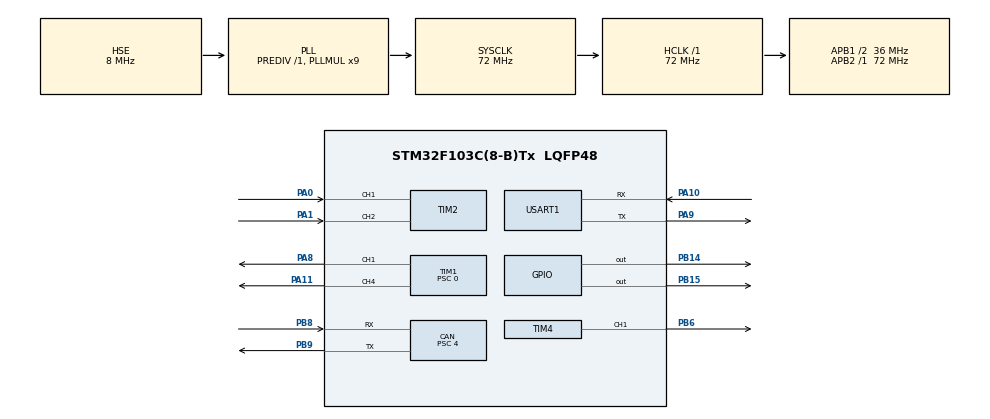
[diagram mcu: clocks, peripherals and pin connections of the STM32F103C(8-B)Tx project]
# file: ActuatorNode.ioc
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CAN.BS1=CAN_BS1_13TQ
CAN.BS2=CAN_BS2_4TQ
CAN.CalculateBaudRate=500000
CAN.CalculateTimeBit=2000
CAN.CalculateTimeQuantum=111.11111111111111
CAN.Prescaler=4
Mcu.Family=STM32F1
Mcu.Name=STM32F103C(8-B)Tx
Mcu.Package=LQFP48
NVIC.PriorityGroup=NVIC_PRIORITYGROUP_4
NVIC.TIM2_IRQn=true\:0\:0\:false\:false\:true\:true\:true\:true
NVIC.TIM3_IRQn=true\:0\:0\:false\:false\:true\:true\:true\:true
NVIC.USB_LP_CAN1_RX0_IRQn=true\:0\:0\:false\:false\:true\:true\:true\:true
PA0-WKUP.Signal=S_TIM2_CH1_ETR
PA1.Signal=S_TIM2_CH2
PA10.Mode=Asynchronous
PA10.Signal=USART1_RX
PA11.Signal=S_TIM1_CH4
PA13.Mode=Serial_Wire
PA13.Signal=SYS_JTMS-SWDIO
PA14.Mode=Serial_Wire
PA14.Signal=SYS_JTCK-SWCLK
PA8.Signal=S_TIM1_CH1
PA9.Mode=Asynchronous
PA9.Signal=USART1_TX
PB14.Signal=GPIO_Output
PB15.Signal=GPIO_Output
PB6.Signal=S_TIM4_CH1
PB8.Mode=CAN_Activate
PB8.Signal=CAN_RX
PB9.Mode=CAN_Activate
PB9.Signal=CAN_TX
PD0-OSC_IN.Mode=HSE-External-Oscillator
PD0-OSC_IN.Signal=RCC_OSC_IN
PD1-OSC_OUT.Mode=HSE-External-Oscillator
PD1-OSC_OUT.Signal=RCC_OSC_OUT
ProjectManager.HeapSize=0x200
ProjectManager.StackSize=0x400
ProjectManager.TargetToolchain=STM32CubeIDE
RCC.AHBFreq_Value=72000000
RCC.APB1CLKDivider=RCC_HCLK_DIV2
RCC.APB1Freq_Value=36000000
RCC.APB1TimFreq_Value=72000000
RCC.APB2Freq_Value=72000000
RCC.APB2TimFreq_Value=72000000
RCC.HCLKFreq_Value=72000000
RCC.PLLMUL=RCC_PLL_MUL9
RCC.PLLSourceVirtual=RCC_PLLSOURCE_HSE
RCC.SYSCLKFreq_VALUE=72000000
RCC.SYSCLKSource=RCC_SYSCLKSOURCE_PLLCLK
RCC.USBFreq_Value=72000000
SH.S_TIM1_CH1.0=TIM1_CH1,PWM Generation1 CH1
SH.S_TIM1_CH4.0=TIM1_CH4,PWM Generation4 CH4
SH.S_TIM2_CH1_ETR.0=TIM2_CH1,Encoder_Interface
SH.S_TIM2_CH2.0=TIM2_CH2,Encoder_Interface
SH.S_TIM4_CH1.0=TIM4_CH1,PWM Generation1 CH1
TIM1.Channel-PWM\ Generation1\ CH1=TIM_CHANNEL_1
TIM1.Channel-PWM\ Generation4\ CH4=TIM_CHANNEL_4
TIM1.Period=7199
TIM1.Prescaler=0
TIM2.EncoderMode=TIM_ENCODERMODE_TI12
TIM2.IC1Polarity=TIM_ICPOLARITY_FALLING
TIM2.IC2Polarity=TIM_ICPOLARITY_FALLING
TIM3.Period=999
TIM3.Prescaler=7199
TIM4.Channel-PWM\ Generation1\ CH1=TIM_CHANNEL_1
TIM4.Period=9999
TIM4.Prescaler=143
USART1.VirtualMode=VM_ASYNC
VP_TIM1_VS_ClockSourceINT.Mode=Internal
VP_TIM3_VS_ClockSourceINT.Mode=Internal
VP_TIM4_VS_ClockSourceINT.Mode=Internal
board=custom

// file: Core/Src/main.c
/* USER CODE BEGIN Header */
/**
  ******************************************************************************
  * @file           : main.c
  * @brief          : Main program body
  ******************************************************************************
  * @attention
  *
  * Copyright (c) 2024 STMicroelectronics.
  * All rights reserved.
  *
  * This software is licensed under terms that can be found in the LICENSE file
  * in the root directory of this software component.
  * If no LICENSE file comes with this software, it is provided AS-IS.
  *
  ******************************************************************************
  */
/* USER CODE END Header */
#include "main.h"
#include "can.h"
#include "tim.h"
#include "usart.h"
#include "gpio.h"

/* USER CODE BEGIN Includes */
#include "stdio.h"
#include "CAN_Handler.h"
/* USER CODE END Includes */

/* USER CODE BEGIN PD */
char buffer2[100];

#define SFORWARD 	1
#define SBACKWARD 	0

#define FAST 1
#define SLOW 0

uint8_t LEFT[] 		= { 1, 0, 0, 0, 0, 0, 0, 0 };
uint8_t RIGHT[] 	= { 2, 0, 0, 0, 0, 0, 0, 0 };
uint8_t FORWARD[] 	= { 3, 0, 0, 0, 0, 0, 0, 0 };
uint8_t BACKWARD[] 	= { 4, 0, 0, 0, 0, 0, 0, 0 };
/* USER CODE END PD */

void SystemClock_Config(void);

/* USER CODE BEGIN 0 */
uint8_t recv = 0, temp = 7, temp2 = 7;
void HAL_CAN_RxFifo0MsgPendingCallback(CAN_HandleTypeDef* hcan)
{
	HAL_CAN_GetRxMessage(hcan, CAN_RX_FIFO0, &RxHeader, RxData);
	temp = RxData[0];
	temp2 = RxData[1];
	recv = 1;

}
//

//Motor
void Start_Motor();
void genPwm(TIM_HandleTypeDef *htim, uint32_t channel, float duty_cycle);
void run(uint8_t speed, uint8_t mode);
void stop();

//Servo

uint16_t Angle(double angle);
void To_Default();
void Start_Servo();
void Turn_Left();
void Turn_Right();

//Decoder temp to drive car
void DriveCar()
{
	switch(temp)
	{
	case 1:
	{
		run(31, SFORWARD);
		Turn_Left();
		HAL_Delay(200);
		CAN_Transmit(&hcan, &TxHeader, LEFT);
		break;
	}
	case 2:
	{
		run(31, SFORWARD);
		Turn_Right();
		HAL_Delay(200);
		CAN_Transmit(&hcan, &TxHeader, RIGHT);
		break;
	}
	case 3:
	{
		run(31, SFORWARD);
		if (temp2 == 1)
		{
		Turn_Left();
		}
		else if (temp2 == 2)
		{
		Turn_Right();
		}
		HAL_Delay(200);
		CAN_Transmit(&hcan, &TxHeader, FORWARD);
		break;
	}
	case 4:
	{
		if (temp2 == 1)
		{
			Turn_Left();
		}
		else
		{
			Turn_Right();
		}
		run(31, SBACKWARD);
		CAN_Transmit(&hcan, &TxHeader, BACKWARD);
		HAL_Delay(1500);
		break;
	}

	}
}
/* USER CODE END 0 */

int main(void)
{

  /* MCU Configuration--------------------------------------------------------*/

  /* Reset of all peripherals, Initializes the Flash interface and the Systick. */
  HAL_Init();

  /* Configure the system clock */
  SystemClock_Config();

  /* Initialize all configured peripherals */
  MX_GPIO_Init();
  MX_TIM1_Init();
  MX_TIM2_Init();
  MX_TIM3_Init();
  MX_USART1_UART_Init();
  MX_TIM4_Init();
  MX_CAN_Init();
  /* USER CODE BEGIN 2 */
	Start_Motor();
	Start_Servo();
	CAN_FilterInit_SingleFF0(&hcan, &canfilterconfig, SENSOR_ADDR);
	CAN_ComInit_Std(&TxHeader, &hcan, ACTUATOR_ADDR, 1);
  /* USER CODE END 2 */

  /* Infinite loop */
  /* USER CODE BEGIN WHILE */
	run(35, SFORWARD);
	while (1)
	{
		if (recv == 1) {
		DriveCar();
			recv = 0;
		}
    /* USER CODE END WHILE */

	}
}

void SystemClock_Config(void)
{
  RCC_OscInitTypeDef RCC_OscInitStruct = {0};
  RCC_ClkInitTypeDef RCC_ClkInitStruct = {0};

  /** Initializes the RCC Oscillators according to the specified parameters
  * in the RCC_OscInitTypeDef structure.
  */
  RCC_OscInitStruct.OscillatorType = RCC_OSCILLATORTYPE_HSE;
  RCC_OscInitStruct.HSEState = RCC_HSE_ON;
  RCC_OscInitStruct.HSEPredivValue = RCC_HSE_PREDIV_DIV1;
  RCC_OscInitStruct.HSIState = RCC_HSI_ON;
  RCC_OscInitStruct.PLL.PLLState = RCC_PLL_ON;
  RCC_OscInitStruct.PLL.PLLSource = RCC_PLLSOURCE_HSE;
  RCC_OscInitStruct.PLL.PLLMUL = RCC_PLL_MUL9;
  if (HAL_RCC_OscConfig(&RCC_OscInitStruct) != HAL_OK)
  {
    Error_Handler();
  }

  /** Initializes the CPU, AHB and APB buses clocks
  */
  RCC_ClkInitStruct.ClockType = RCC_CLOCKTYPE_HCLK|RCC_CLOCKTYPE_SYSCLK
                              |RCC_CLOCKTYPE_PCLK1|RCC_CLOCKTYPE_PCLK2;
  RCC_ClkInitStruct.SYSCLKSource = RCC_SYSCLKSOURCE_PLLCLK;
  RCC_ClkInitStruct.AHBCLKDivider = RCC_SYSCLK_DIV1;
  RCC_ClkInitStruct.APB1CLKDivider = RCC_HCLK_DIV2;
  RCC_ClkInitStruct.APB2CLKDivider = RCC_HCLK_DIV1;

  if (HAL_RCC_ClockConfig(&RCC_ClkInitStruct, FLASH_LATENCY_2) != HAL_OK)
  {
    Error_Handler();
  }
}

/* USER CODE BEGIN 4 */
//Motor
void Start_Motor()
{
	HAL_TIM_PWM_Start(&htim1, TIM_CHANNEL_1);
	HAL_TIM_PWM_Start(&htim1, TIM_CHANNEL_4);
	HAL_GPIO_WritePin(GPIOB, GPIO_PIN_14, 1);
	HAL_GPIO_WritePin(GPIOB, GPIO_PIN_15, 1);
}

void genPwm(TIM_HandleTypeDef *htim, uint32_t channel, float duty_cycle)
{
	float load_value = (duty_cycle / 100) * htim->Instance->ARR;
	__HAL_TIM_SET_COMPARE(htim, channel, (uint16_t)load_value);
}

void run(uint8_t speed, uint8_t mode)
{
	if (mode == SFORWARD) {
		genPwm(&htim1,TIM_CHANNEL_4, speed);
		genPwm(&htim1,TIM_CHANNEL_1, 0);
	}
	else {
		genPwm(&htim1,TIM_CHANNEL_4, 0);
		genPwm(&htim1,TIM_CHANNEL_1, speed);
	}
}

void stop()
{
	genPwm(&htim1,TIM_CHANNEL_4, 0);
	genPwm(&htim1,TIM_CHANNEL_1, 0);
	HAL_Delay(200);
}

//Servo

uint16_t Angle(double angle)
{
	double temp = 250 + angle * 5.56;
	return (int)temp;
}

void To_Default()
{
	__HAL_TIM_SET_COMPARE(&htim4,TIM_CHANNEL_1, Angle(90));
}

void Start_Servo()
{
	HAL_TIM_PWM_Start(&htim4, TIM_CHANNEL_1);
	To_Default();
	HAL_Delay(100);
}

void Turn_Left()
{
	__HAL_TIM_SET_COMPARE(&htim4,TIM_CHANNEL_1, Angle(48));
}

void Turn_Right()
{
	__HAL_TIM_SET_COMPARE(&htim4,TIM_CHANNEL_1, Angle(136));
}

/* USER CODE END 4 */

void Error_Handler(void)
{
  __disable_irq();
  while (1)
  {
  }
}
